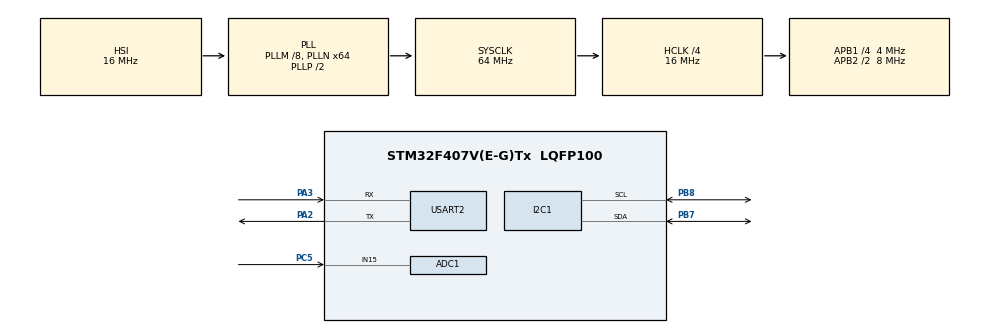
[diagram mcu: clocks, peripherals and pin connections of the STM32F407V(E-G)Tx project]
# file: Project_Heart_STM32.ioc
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ADC1.Channel-1\#ChannelRegularConversion=ADC_CHANNEL_15
ADC1.ClockPrescaler=ADC_CLOCK_SYNC_PCLK_DIV8
ADC1.ContinuousConvMode=DISABLE
ADC1.NbrOfConversionFlag=1
ADC1.Rank-1\#ChannelRegularConversion=1
ADC1.Resolution=ADC_RESOLUTION_10B
ADC1.SamplingTime-1\#ChannelRegularConversion=ADC_SAMPLETIME_3CYCLES
ADC1.master=1
I2C1.I2C_Mode=I2C_Standard
Mcu.Family=STM32F4
Mcu.Name=STM32F407V(E-G)Tx
Mcu.Package=LQFP100
NVIC.PriorityGroup=NVIC_PRIORITYGROUP_4
NVIC.TIM3_IRQn=true\:0\:0\:false\:false\:true\:true\:true
NVIC.USART2_IRQn=true\:0\:0\:false\:false\:true\:true\:true
PA2.GPIO_PuPd=GPIO_PULLUP
PA2.Mode=Asynchronous
PA2.Signal=USART2_TX
PA3.GPIO_PuPd=GPIO_PULLUP
PA3.Mode=Asynchronous
PA3.Signal=USART2_RX
PB7.Mode=I2C
PB7.Signal=I2C1_SDA
PB8.Mode=I2C
PB8.Signal=I2C1_SCL
PC14-OSC32_IN.Mode=LSE-External-Oscillator
PC14-OSC32_IN.Signal=RCC_OSC32_IN
PC15-OSC32_OUT.Mode=LSE-External-Oscillator
PC15-OSC32_OUT.Signal=RCC_OSC32_OUT
PC5.Signal=ADCx_IN15
PH0-OSC_IN.Mode=HSE-External-Oscillator
PH0-OSC_IN.Signal=RCC_OSC_IN
PH1-OSC_OUT.Mode=HSE-External-Oscillator
PH1-OSC_OUT.Signal=RCC_OSC_OUT
ProjectManager.HeapSize=0x200
ProjectManager.StackSize=0x400
ProjectManager.TargetToolchain=SW4STM32
RCC.48MHZClocksFreq_Value=32000000
RCC.AHBCLKDivider=RCC_SYSCLK_DIV4
RCC.AHBFreq_Value=16000000
RCC.APB1CLKDivider=RCC_HCLK_DIV4
RCC.APB1Freq_Value=4000000
RCC.APB1TimFreq_Value=8000000
RCC.APB2CLKDivider=RCC_HCLK_DIV2
RCC.APB2Freq_Value=8000000
RCC.APB2TimFreq_Value=16000000
RCC.CortexFreq_Value=16000000
RCC.HCLKFreq_Value=16000000
RCC.HSE_VALUE=25000000
RCC.HSI_VALUE=16000000
RCC.PLLM=8
RCC.PLLN=64
RCC.SYSCLKFreq_VALUE=64000000
RCC.SYSCLKSource=RCC_SYSCLKSOURCE_PLLCLK
RCC.VCOOutputFreq_Value=128000000
SH.ADCx_IN15.0=ADC1_IN15,IN15
TIM3.Period=32
TIM3.Prescaler=16000
USART2.VirtualMode=VM_ASYNC
VP_TIM3_VS_ClockSourceINT.Mode=Internal
board=custom

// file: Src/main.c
/* USER CODE BEGIN Header */
/**
 ******************************************************************************
 * @file           : main.c
 * @brief          : Main program body
 ******************************************************************************
 * @attention
 *
 * <h2><center>&copy; Copyright (c) 2020 STMicroelectronics.
 * All rights reserved.</center></h2>
 *
 * This software component is licensed by ST under BSD 3-Clause license,
 * the "License"; You may not use this file except in compliance with the
 * License. You may obtain a copy of the License at:
 *                        opensource.org/licenses/BSD-3-Clause
 *
 ******************************************************************************
 */
/* USER CODE END Header */

#include "main.h"

/* USER CODE BEGIN Includes */
#include "bh1790glc.h"
#include "MQ-3.h"
#include "stm32f4xx_hal.h"
/* USER CODE END Includes */

/* USER CODE BEGIN PD */
#define Addr 0xB6
/* USER CODE END PD */

ADC_HandleTypeDef hadc1;

I2C_HandleTypeDef hi2c1;

TIM_HandleTypeDef htim3;

UART_HandleTypeDef huart2;

/* USER CODE BEGIN PV */
uint8_t data = 0x00;
uint8_t dataUart = 0x00;
uint8_t connect = 0x00;
uint8_t tabUart[2];
/* USER CODE END PV */

void SystemClock_Config(void);
static void MX_GPIO_Init(void);
static void MX_ADC1_Init(void);
static void MX_I2C1_Init(void);
static void MX_USART2_UART_Init(void);
static void MX_TIM3_Init(void);
/* USER CODE BEGIN PFP */

void initBH1790GLC(void) {
	uint8_t data[2];
	data[0] = 0x41;
	data[1] = 0x86;
	if (HAL_I2C_Master_Transmit(&hi2c1, Addr, data, 2, 10) == HAL_OK) {
		data[0] = 0x42;
		data[1] = 0x0E;
		HAL_I2C_Master_Transmit(&hi2c1, Addr, data, 2, 10);
		data[0] = 0x43;
		data[1] = 0x01;
		HAL_I2C_Master_Transmit(&hi2c1, Addr, data, 2, 10);

	}

}
/* USER CODE END PFP */

/* USER CODE BEGIN 0 */
uint8_t cnt = 0;
/* USER CODE END 0 */

int main(void) {

	/* MCU Configuration--------------------------------------------------------*/

	/* Reset of all peripherals, Initializes the Flash interface and the Systick. */
	HAL_Init();

	/* Configure the system clock */
	SystemClock_Config();

	/* Initialize all configured peripherals */
	MX_GPIO_Init();
	MX_ADC1_Init();
	MX_I2C1_Init();
	MX_USART2_UART_Init();
	MX_TIM3_Init();
	/* USER CODE BEGIN 2 */
	//testAddr();
	heartrateInit();
	initBH1790GLC();
	HAL_UART_Receive_IT(&huart2, &dataUart, 1);
	//HAL_TIM_Base_Start_IT(&htim3);
	/* USER CODE END 2 */

	/* Infinite loop */
	/* USER CODE BEGIN WHILE */
	while (1) {
		if (connect == 1) {
			HAL_TIM_Base_Start_IT(&htim3);
			connect = 0;
		}
		/* USER CODE END WHILE */

	}
}

void SystemClock_Config(void) {
	RCC_OscInitTypeDef RCC_OscInitStruct = { 0 };
	RCC_ClkInitTypeDef RCC_ClkInitStruct = { 0 };

	/** Configure the main internal regulator output voltage
	 */
	__HAL_RCC_PWR_CLK_ENABLE()
	;
	__HAL_PWR_VOLTAGESCALING_CONFIG(PWR_REGULATOR_VOLTAGE_SCALE1);
	/** Initializes the CPU, AHB and APB busses clocks
	 */
	RCC_OscInitStruct.OscillatorType = RCC_OSCILLATORTYPE_HSI;
	RCC_OscInitStruct.HSIState = RCC_HSI_ON;
	RCC_OscInitStruct.HSICalibrationValue = RCC_HSICALIBRATION_DEFAULT;
	RCC_OscInitStruct.PLL.PLLState = RCC_PLL_ON;
	RCC_OscInitStruct.PLL.PLLSource = RCC_PLLSOURCE_HSI;
	RCC_OscInitStruct.PLL.PLLM = 8;
	RCC_OscInitStruct.PLL.PLLN = 64;
	RCC_OscInitStruct.PLL.PLLP = RCC_PLLP_DIV2;
	RCC_OscInitStruct.PLL.PLLQ = 4;
	if (HAL_RCC_OscConfig(&RCC_OscInitStruct) != HAL_OK) {
		Error_Handler();
	}
	/** Initializes the CPU, AHB and APB busses clocks
	 */
	RCC_ClkInitStruct.ClockType = RCC_CLOCKTYPE_HCLK | RCC_CLOCKTYPE_SYSCLK
			| RCC_CLOCKTYPE_PCLK1 | RCC_CLOCKTYPE_PCLK2;
	RCC_ClkInitStruct.SYSCLKSource = RCC_SYSCLKSOURCE_PLLCLK;
	RCC_ClkInitStruct.AHBCLKDivider = RCC_SYSCLK_DIV4;
	RCC_ClkInitStruct.APB1CLKDivider = RCC_HCLK_DIV4;
	RCC_ClkInitStruct.APB2CLKDivider = RCC_HCLK_DIV2;

	if (HAL_RCC_ClockConfig(&RCC_ClkInitStruct, FLASH_LATENCY_0) != HAL_OK) {
		Error_Handler();
	}
}

static void MX_ADC1_Init(void) {

	ADC_ChannelConfTypeDef sConfig = { 0 };

	/** Configure the global features of the ADC (Clock, Resolution, Data Alignment and number of conversion)
	 */
	hadc1.Instance = ADC1;
	hadc1.Init.ClockPrescaler = ADC_CLOCK_SYNC_PCLK_DIV8;
	hadc1.Init.Resolution = ADC_RESOLUTION_10B;
	hadc1.Init.ScanConvMode = DISABLE;
	hadc1.Init.ContinuousConvMode = DISABLE;
	hadc1.Init.DiscontinuousConvMode = DISABLE;
	hadc1.Init.ExternalTrigConvEdge = ADC_EXTERNALTRIGCONVEDGE_NONE;
	hadc1.Init.ExternalTrigConv = ADC_SOFTWARE_START;
	hadc1.Init.DataAlign = ADC_DATAALIGN_RIGHT;
	hadc1.Init.NbrOfConversion = 1;
	hadc1.Init.DMAContinuousRequests = DISABLE;
	hadc1.Init.EOCSelection = ADC_EOC_SINGLE_CONV;
	if (HAL_ADC_Init(&hadc1) != HAL_OK) {
		Error_Handler();
	}
	/** Configure for the selected ADC regular channel its corresponding rank in the sequencer and its sample time.
	 */
	sConfig.Channel = ADC_CHANNEL_15;
	sConfig.Rank = 1;
	sConfig.SamplingTime = ADC_SAMPLETIME_3CYCLES;
	if (HAL_ADC_ConfigChannel(&hadc1, &sConfig) != HAL_OK) {
		Error_Handler();
	}

}

static void MX_I2C1_Init(void) {

	hi2c1.Instance = I2C1;
	hi2c1.Init.ClockSpeed = 100000;
	hi2c1.Init.DutyCycle = I2C_DUTYCYCLE_2;
	hi2c1.Init.OwnAddress1 = 0;
	hi2c1.Init.AddressingMode = I2C_ADDRESSINGMODE_7BIT;
	hi2c1.Init.DualAddressMode = I2C_DUALADDRESS_DISABLE;
	hi2c1.Init.OwnAddress2 = 0;
	hi2c1.Init.GeneralCallMode = I2C_GENERALCALL_DISABLE;
	hi2c1.Init.NoStretchMode = I2C_NOSTRETCH_DISABLE;
	if (HAL_I2C_Init(&hi2c1) != HAL_OK) {
		Error_Handler();
	}
}

static void MX_TIM3_Init(void) {

	TIM_ClockConfigTypeDef sClockSourceConfig = { 0 };
	TIM_MasterConfigTypeDef sMasterConfig = { 0 };

	htim3.Instance = TIM3;
	htim3.Init.Prescaler = 8000;
	htim3.Init.CounterMode = TIM_COUNTERMODE_UP;
	htim3.Init.Period = 32;
	htim3.Init.ClockDivision = TIM_CLOCKDIVISION_DIV1;
	htim3.Init.AutoReloadPreload = TIM_AUTORELOAD_PRELOAD_DISABLE;
	if (HAL_TIM_Base_Init(&htim3) != HAL_OK) {
		Error_Handler();
	}
	sClockSourceConfig.ClockSource = TIM_CLOCKSOURCE_INTERNAL;
	if (HAL_TIM_ConfigClockSource(&htim3, &sClockSourceConfig) != HAL_OK) {
		Error_Handler();
	}
	sMasterConfig.MasterOutputTrigger = TIM_TRGO_RESET;
	sMasterConfig.MasterSlaveMode = TIM_MASTERSLAVEMODE_DISABLE;
	if (HAL_TIMEx_MasterConfigSynchronization(&htim3, &sMasterConfig)
			!= HAL_OK) {
		Error_Handler();
	}

}

static void MX_USART2_UART_Init(void) {

	huart2.Instance = USART2;
	huart2.Init.BaudRate = 115200;
	huart2.Init.WordLength = UART_WORDLENGTH_8B;
	huart2.Init.StopBits = UART_STOPBITS_1;
	huart2.Init.Parity = UART_PARITY_NONE;
	huart2.Init.Mode = UART_MODE_TX_RX;
	huart2.Init.HwFlowCtl = UART_HWCONTROL_NONE;
	huart2.Init.OverSampling = UART_OVERSAMPLING_16;
	if (HAL_UART_Init(&huart2) != HAL_OK) {
		Error_Handler();
	}

}

static void MX_GPIO_Init(void) {
	/* GPIO Ports Clock Enable */
	__HAL_RCC_GPIOC_CLK_ENABLE()
					;
	__HAL_RCC_GPIOH_CLK_ENABLE()
	;
	__HAL_RCC_GPIOA_CLK_ENABLE()
	;
	__HAL_RCC_GPIOB_CLK_ENABLE()
	;
}

/* USER CODE BEGIN 4 */
void HAL_TIM_PeriodElapsedCallback(TIM_HandleTypeDef *htim) {
	uint8_t bpm = 0;
	uint8_t rate = 0;
	uint8_t touch = 0x00;

	touch = heartrate();
	cnt++;
	if (touch == TouchOff) {
		cnt = 0;
		clear();
		heartrateInit();
	}
	if (cnt == 32) {
		cnt = 0;
		heartrateData(&bpm);
		//clear();
		tabUart[0] = 0x55;
		tabUart[1] = bpm;
		HAL_UART_Transmit(&huart2, tabUart, 2, 100);

	}
	else{
		rate = alcohol();
		tabUart[0] = 0xFF;
		tabUart[1] = rate;
		HAL_UART_Transmit(&huart2, tabUart, 2, 100);
	}
	/*if (cnt >= 64)
		cnt = 0;*/
	HAL_TIM_Base_Start_IT(&htim3);
}

void HAL_UART_RxCpltCallback(UART_HandleTypeDef *huart) {//Fonction de reception en interruption
	if (huart == &huart2) {	// Test si la commnication vient du bon UART
		connect = 1;	//Flag signifiant que nous avons reçu une donnée
	}
	HAL_UART_Receive_IT(&huart2, &data, 1);
}

void bh1790Read(uint8_t dataOut[4]) {
	uint8_t reg = 0x54;
	HAL_I2C_Master_Transmit(&hi2c1, Addr, &reg, 1, 10);
	HAL_I2C_Master_Receive(&hi2c1, Addr, &dataOut[0], 1, 10);

	reg = 0x55;
	HAL_I2C_Master_Transmit(&hi2c1, Addr, &reg, 1, 10);
	HAL_I2C_Master_Receive(&hi2c1, Addr, &dataOut[1], 1, 10);

	reg = 0x56;
	HAL_I2C_Master_Transmit(&hi2c1, Addr, &reg, 1, 10);
	HAL_I2C_Master_Receive(&hi2c1, Addr, &dataOut[2], 1, 10);

	reg = 0x57;
	HAL_I2C_Master_Transmit(&hi2c1, Addr, &reg, 1, 10);
	HAL_I2C_Master_Receive(&hi2c1, Addr, &dataOut[3], 1, 10);
}

void MQ3_ADC(uint16_t *dataADC) {
	HAL_ADC_Start(&hadc1);	//Active le convertisseur analogique numérique
	if (HAL_ADC_PollForConversion(&hadc1, 10000000 == HAL_OK)) {//attent la fin de la conversion de la tension
		*dataADC = (uint16_t) HAL_ADC_GetValue(&hadc1);
	}
	HAL_ADC_Stop(&hadc1);	//Désactive le CAN
}
/* USER CODE END 4 */

void Error_Handler(void) {
}

/************************ (C) COPYRIGHT STMicroelectronics *****END OF FILE****/
